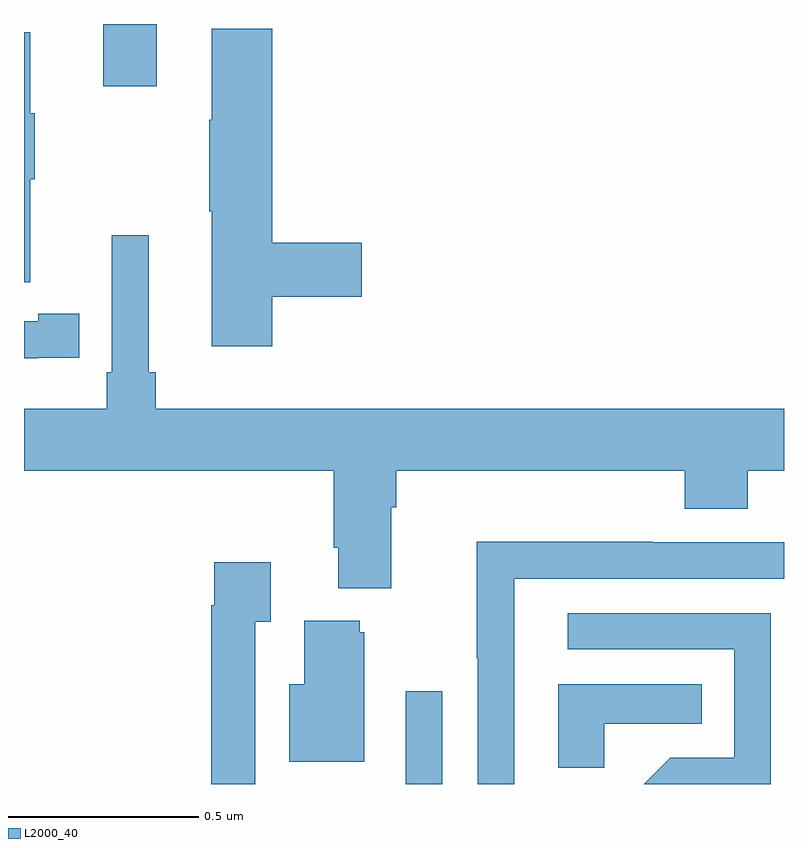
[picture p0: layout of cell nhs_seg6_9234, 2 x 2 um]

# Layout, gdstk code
import gdstk
lib = gdstk.Library(unit=1e-6, precision=1e-09)
def R(c, l, rs):  # rectangles x0, y0, x1, y1
    for r in rs: c.add(gdstk.rectangle(r[:2], r[2:], *l))
def P(c, l, *ps):  # polygons
    for p in ps: c.add(gdstk.Polygon(p, *l))
L2000_40 = (2000, 40)

nhs_seg6_9234 = lib.new_cell('nhs_seg6_9234')
R(nhs_seg6_9234, L2000_40, [(232.005,958.5,232.101,958.744), (231.209,960.336,231.349,960.5)])
P(nhs_seg6_9234, L2000_40, [(231.653,959.782),(231.889,959.782),(231.889,959.924),(231.653,959.924),(231.653,960.487),(231.494,960.487),(231.494,960.248),(231.487,960.248),(231.487,960.007),(231.494,960.007),(231.494,959.652),(231.653,959.652)],
  [(231.017,960.091),(231.028,960.091),(231.028,960.265),(231.017,960.265),(231.017,960.478),(231,960.478),(231,959.82),(231.017,959.82)],
  [(231.967,959.228),(231.98,959.228),(231.98,959.324),(232.739,959.324),(232.739,959.225),(232.904,959.225),(232.904,959.324),(233,959.324),(233,959.488),(231.347,959.488),(231.347,959.584),(231.328,959.584),(231.328,959.944),(231.231,959.944),(231.231,959.584),(231.218,959.584),(231.218,959.488),(231,959.488),(231,959.324),(231.815,959.324),(231.815,959.122),(231.827,959.122),(231.827,959.015),(231.967,959.015)],
  [(231.038,959.622),(231.146,959.622),(231.146,959.738),(231.038,959.738),(231.038,959.718),(231,959.718),(231,959.621),(231.038,959.621)],
  [(232.29,959.04),(233,959.04),(233,959.136),(232.655,959.136),(232.655,959.138),(232.192,959.138),(232.192,958.831),(232.194,958.831),(232.194,958.5),(232.29,958.5)],
  [(231.609,958.927),(231.649,958.927),(231.649,959.083),(231.501,959.083),(231.501,958.97),(231.493,958.97),(231.493,958.5),(231.609,958.5)],
  [(232.965,958.95),(232.431,958.95),(232.431,958.854),(232.869,958.854),(232.869,958.569),(232.7,958.569),(232.631,958.5),(232.965,958.5)],
  [(231.895,958.899),(231.884,958.899),(231.884,958.93),(231.737,958.93),(231.737,958.762),(231.698,958.762),(231.698,958.559),(231.895,958.559)],
  [(232.527,958.658),(232.784,958.658),(232.784,958.762),(232.406,958.762),(232.406,958.543),(232.527,958.543)])

lib.write_gds('nhs_seg6_9234.gds')
